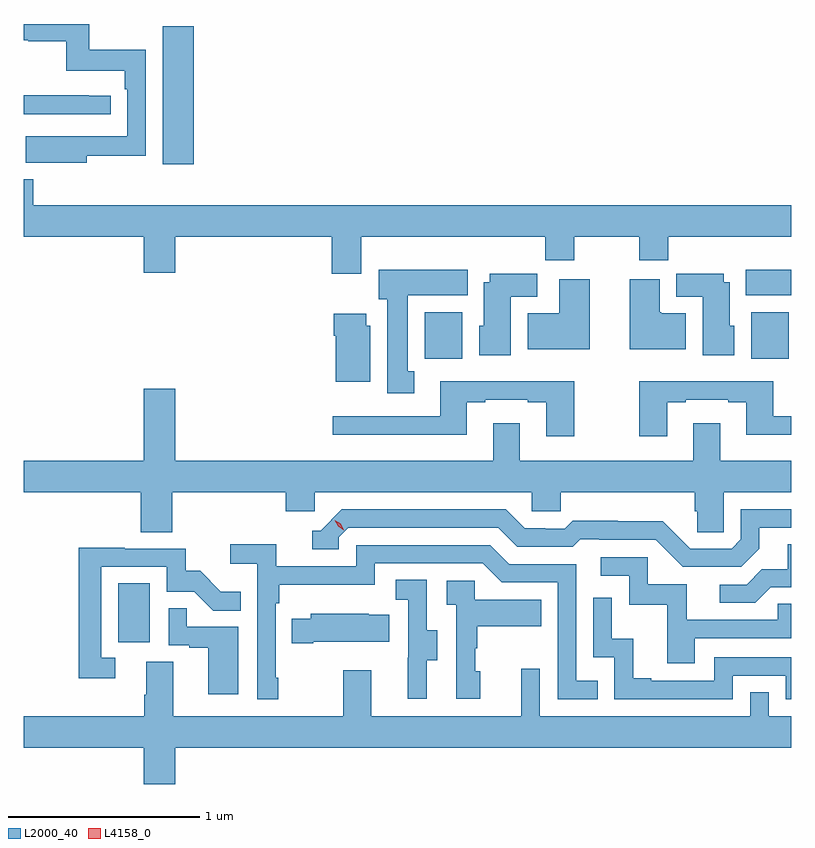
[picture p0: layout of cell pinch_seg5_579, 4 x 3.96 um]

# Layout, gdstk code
import gdstk
lib = gdstk.Library(unit=1e-6, precision=1e-09)
def R(c, l, rs):  # rectangles x0, y0, x1, y1
    for r in rs: c.add(gdstk.rectangle(r[:2], r[2:], *l))
def P(c, l, *ps):  # polygons
    for p in ps: c.add(gdstk.Polygon(p, *l))
L2000_40 = (2000, 40)
L4158_0 = (4158, 0)

pinch_seg5_579 = lib.new_cell('pinch_seg5_579')
R(pinch_seg5_579, L2000_40, [(1141.898,854.646,1142.062,854.953), (1143.494,856.124,1143.691,856.366), (1145.195,856.124,1145.392,856.366), (1145.168,856.454,1145.405,856.588), (1142.129,857.136,1142.29,857.857)])
P(pinch_seg5_579, L2000_40, [(1141.735,857.182),(1142.04,857.182),(1142.04,857.734),(1141.747,857.734),(1141.747,857.868),(1141.405,857.868),(1141.405,857.784),(1141.429,857.784),(1141.429,857.779),(1141.626,857.779),(1141.626,857.624),(1141.931,857.624),(1141.931,857.528),(1141.944,857.528),(1141.944,857.283),(1141.631,857.283),(1141.631,857.284),(1141.417,857.284),(1141.417,857.144),(1141.735,857.144)],
  [(1141.858,857.493),(1141.745,857.493),(1141.745,857.498),(1141.405,857.498),(1141.405,857.397),(1141.858,857.397)],
  [(1143.163,856.76),(1144.123,856.76),(1144.123,856.636),(1144.275,856.636),(1144.275,856.76),(1144.612,856.76),(1144.612,856.636),(1144.763,856.636),(1144.763,856.76),(1145.405,856.76),(1145.405,856.924),(1141.454,856.924),(1141.454,857.059),(1141.405,857.059),(1141.405,856.76),(1142.03,856.76),(1142.03,856.572),(1142.194,856.572),(1142.194,856.76),(1143.011,856.76),(1143.011,856.566),(1143.163,856.566)],
  [(1143.439,856.058),(1143.406,856.058),(1143.406,856.454),(1143.718,856.454),(1143.718,856.588),(1143.254,856.588),(1143.254,856.434),(1143.299,856.434),(1143.299,855.945),(1143.439,855.945)],
  [(1143.943,856.448),(1144.082,856.448),(1144.082,856.567),(1143.833,856.567),(1143.833,856.522),(1143.803,856.522),(1143.803,856.296),(1143.779,856.296),(1143.779,856.142),(1143.943,856.142)],
  [(1145.107,856.296),(1145.083,856.296),(1145.083,856.522),(1145.053,856.522),(1145.053,856.566),(1144.805,856.566),(1144.805,856.448),(1144.943,856.448),(1144.943,856.142),(1145.107,856.142)],
  [(1144.354,856.537),(1144.196,856.537),(1144.196,856.36),(1144.031,856.36),(1144.031,856.172),(1144.354,856.172)],
  [(1144.855,856.36),(1144.726,856.36),(1144.726,856.366),(1144.72,856.366),(1144.72,856.537),(1144.562,856.537),(1144.562,856.172),(1144.855,856.172)],
  [(1143.211,856.296),(1143.19,856.296),(1143.19,856.357),(1143.02,856.357),(1143.02,856.244),(1143.032,856.244),(1143.032,856.004),(1143.211,856.004)],
  [(1144.275,856.006),(1143.575,856.006),(1143.575,855.825),(1143.015,855.825),(1143.015,855.728),(1143.715,855.728),(1143.715,855.897),(1143.811,855.897),(1143.811,855.909),(1144.031,855.909),(1144.031,855.897),(1144.127,855.897),(1144.127,855.72),(1144.275,855.72)],
  [(1144.759,855.897),(1144.855,855.897),(1144.855,855.909),(1145.075,855.909),(1145.075,855.897),(1145.171,855.897),(1145.171,855.728),(1145.405,855.728),(1145.405,855.825),(1145.311,855.825),(1145.311,856.006),(1144.612,856.006),(1144.612,855.72),(1144.759,855.72)],
  [(1142.18,855.428),(1142.771,855.428),(1142.771,855.33),(1142.922,855.33),(1142.922,855.428),(1144.053,855.428),(1144.053,855.33),(1144.203,855.33),(1144.203,855.428),(1144.901,855.428),(1144.901,855.33),(1144.915,855.33),(1144.915,855.22),(1145.052,855.22),(1145.052,855.428),(1145.405,855.428),(1145.405,855.592),(1145.035,855.592),(1145.035,855.787),(1144.895,855.787),(1144.895,855.592),(1143.991,855.592),(1143.991,855.787),(1143.851,855.787),(1143.851,855.592),(1142.194,855.592),(1142.194,855.967),(1142.03,855.967),(1142.03,855.592),(1141.405,855.592),(1141.405,855.428),(1142.015,855.428),(1142.015,855.22),(1142.18,855.22)],
  [(1145.239,855.133),(1145.239,855.243),(1145.405,855.243),(1145.405,855.339),(1145.142,855.339),(1145.142,855.183),(1145.094,855.135),(1144.878,855.135),(1144.736,855.277),(1144.5,855.277),(1144.5,855.28),(1144.267,855.28),(1144.225,855.237),(1144.122,855.237),(1144.122,855.24),(1144.015,855.24),(1143.916,855.339),(1143.063,855.339),(1142.952,855.228),(1142.909,855.228),(1142.909,855.132),(1143.048,855.132),(1143.048,855.195),(1143.096,855.243),(1143.879,855.243),(1143.978,855.144),(1144.267,855.144),(1144.306,855.183),(1144.405,855.183),(1144.405,855.18),(1144.698,855.18),(1144.839,855.039),(1145.145,855.039)],
  [(1145.299,854.934),(1145.405,854.934),(1145.405,855.158),(1145.387,855.158),(1145.387,855.026),(1145.252,855.026),(1145.172,854.946),(1145.031,854.946),(1145.031,854.853),(1145.218,854.853)],
  [(1142.731,854.461),(1142.718,854.461),(1142.718,854.849),(1142.738,854.849),(1142.738,854.945),(1143.234,854.945),(1143.234,855.057),(1143.798,855.057),(1143.897,854.958),(1144.188,854.958),(1144.188,854.349),(1144.397,854.349),(1144.397,854.445),(1144.284,854.445),(1144.284,855.054),(1143.934,855.054),(1143.835,855.153),(1143.138,855.153),(1143.138,855.042),(1142.72,855.042),(1142.72,855.158),(1142.481,855.158),(1142.481,855.056),(1142.622,855.056),(1142.622,854.349),(1142.731,854.349)],
  [(1141.882,854.565),(1141.809,854.565),(1141.809,855.039),(1142.151,855.039),(1142.151,854.91),(1142.295,854.91),(1142.393,854.812),(1142.537,854.812),(1142.537,854.911),(1142.433,854.911),(1142.326,855.018),(1142.25,855.018),(1142.25,855.135),(1141.931,855.135),(1141.931,855.14),(1141.693,855.14),(1141.693,854.46),(1141.882,854.46)],
  [(1144.903,854.667),(1145.405,854.667),(1145.405,854.847),(1145.335,854.847),(1145.335,854.763),(1144.861,854.763),(1144.861,854.949),(1144.656,854.949),(1144.656,855.09),(1144.413,855.09),(1144.413,854.994),(1144.56,854.994),(1144.56,854.841),(1144.759,854.841),(1144.759,854.538),(1144.903,854.538)],
  [(1143.505,854.554),(1143.559,854.554),(1143.559,854.709),(1143.504,854.709),(1143.504,854.972),(1143.345,854.972),(1143.345,854.869),(1143.408,854.869),(1143.408,854.565),(1143.407,854.565),(1143.407,854.352),(1143.505,854.352)],
  [(1143.784,854.496),(1143.759,854.496),(1143.759,854.615),(1143.769,854.615),(1143.769,854.729),(1144.103,854.729),(1144.103,854.869),(1143.756,854.869),(1143.756,854.967),(1143.609,854.967),(1143.609,854.843),(1143.66,854.843),(1143.66,854.352),(1143.784,854.352)],
  [(1145.1,854.472),(1145.376,854.472),(1145.376,854.349),(1145.405,854.349),(1145.405,854.568),(1145.004,854.568),(1145.004,854.445),(1144.675,854.445),(1144.675,854.458),(1144.58,854.458),(1144.58,854.666),(1144.47,854.666),(1144.47,854.878),(1144.374,854.878),(1144.374,854.568),(1144.482,854.568),(1144.482,854.349),(1145.1,854.349)],
  [(1142.524,854.727),(1142.255,854.727),(1142.255,854.825),(1142.16,854.825),(1142.16,854.631),(1142.267,854.631),(1142.267,854.619),(1142.366,854.619),(1142.366,854.376),(1142.524,854.376)],
  [(1142.914,854.648),(1143.311,854.648),(1143.311,854.791),(1143.203,854.791),(1143.203,854.794),(1142.901,854.794),(1142.901,854.77),(1142.803,854.77),(1142.803,854.641),(1142.914,854.641)],
  [(1142.194,854.096),(1145.405,854.096),(1145.405,854.26),(1145.286,854.26),(1145.286,854.387),(1145.19,854.387),(1145.19,854.26),(1144.095,854.26),(1144.095,854.509),(1143.998,854.509),(1143.998,854.26),(1143.217,854.26),(1143.217,854.5),(1143.07,854.5),(1143.07,854.26),(1142.185,854.26),(1142.185,854.546),(1142.045,854.546),(1142.045,854.372),(1142.033,854.372),(1142.033,854.26),(1141.405,854.26),(1141.405,854.096),(1142.03,854.096),(1142.03,853.908),(1142.194,853.908)])
P(pinch_seg5_579, L4158_0, [(1143.073,855.23),(1143.043,855.25),(1143.027,855.283),(1143.027,855.283),(1143.027,855.283),(1143.058,855.263),(1143.074,855.23),(1143.074,855.23)])

lib.write_gds('pinch_seg5_579.gds')
